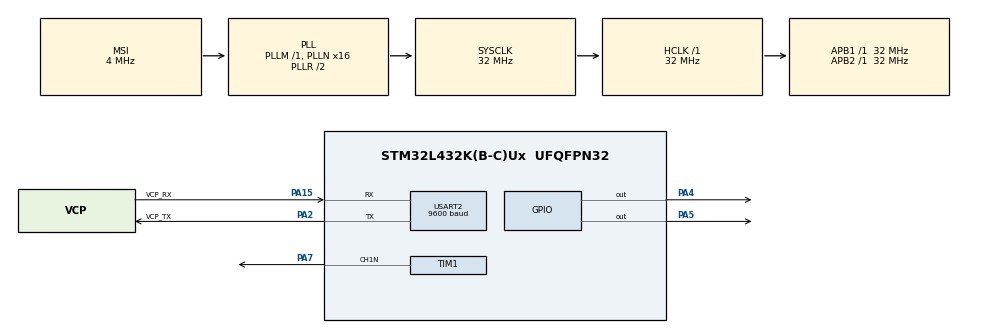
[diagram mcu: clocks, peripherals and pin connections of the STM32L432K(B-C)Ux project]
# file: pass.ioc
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Mcu.Family=STM32L4
Mcu.Name=STM32L432K(B-C)Ux
Mcu.Package=UFQFPN32
NVIC.PriorityGroup=NVIC_PRIORITYGROUP_4
PA15\ (JTDI).GPIO_Label=VCP_RX
PA15\ (JTDI).Mode=Asynchronous
PA15\ (JTDI).Signal=USART2_RX
PA2.GPIO_Label=VCP_TX
PA2.Mode=Asynchronous
PA2.Signal=USART2_TX
PA4.Signal=GPIO_Output
PA5.Signal=GPIO_Output
PA7.Mode=PWM Generation1 CH1N
PA7.Signal=TIM1_CH1N
ProjectManager.HeapSize=0x200
ProjectManager.StackSize=0x400
ProjectManager.TargetToolchain=TrueSTUDIO
RCC.AHBFreq_Value=32000000
RCC.APB1Freq_Value=32000000
RCC.APB1TimFreq_Value=32000000
RCC.APB2Freq_Value=32000000
RCC.APB2TimFreq_Value=32000000
RCC.CortexFreq_Value=32000000
RCC.HCLKFreq_Value=32000000
RCC.HSE_VALUE=8000000
RCC.HSI16_VALUE=16000000
RCC.HSI48_VALUE=48000000
RCC.HSI_VALUE=16000000
RCC.MSI_VALUE=4000000
RCC.PLLMUL=RCC_PLLMUL_4
RCC.PLLN=16
RCC.SYSCLKFreq_VALUE=32000000
RCC.SYSCLKSource=RCC_SYSCLKSOURCE_PLLCLK
RCC.VCOOutputFreq_Value=64000000
TIM1.Channel-PWM\ Generation1\ CH1N=TIM_CHANNEL_1
USART2.BaudRate=9600
USART2.VirtualMode-Asynchronous=VM_ASYNC
USART2.WordLength=WORDLENGTH_8B
VP_TIM1_VS_ClockSourceINT.Mode=Internal
board=NUCLEO-L432KC

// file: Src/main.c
/*******************************************************************************
  * File Name          : main.c
  * Description        : This program checks a password user entered and grants access
  * 					 if its correct.
  *
  * Author:              Lisler Thomson Pulikkottil
  * Date:                21 june, 2018
  ******************************************************************************
  *
  ** This notice applies to any and all portions of this file
  * that are not between comment pairs USER CODE BEGIN and
  * USER CODE END. Other portions of this file, whether
  * inserted by the user or by software development tools
  * are owned by their respective copyright owners.
  *
  * COPYRIGHT(c) 2018 STMicroelectronics
  *
  * Redistribution and use in source and binary forms, with or without modification,
  * are permitted provided that the following conditions are met:
  *   1. Redistributions of source code must retain the above copyright notice,
  *      this list of conditions and the following disclaimer.
  *   2. Redistributions in binary form must reproduce the above copyright notice,
  *      this list of conditions and the following disclaimer in the documentation
  *      and/or other materials provided with the distribution.
  *   3. Neither the name of STMicroelectronics nor the names of its contributors
  *      may be used to endorse or promote products derived from this software
  *      without specific prior written permission.
  *
  * THIS SOFTWARE IS PROVIDED BY THE COPYRIGHT HOLDERS AND CONTRIBUTORS "AS IS"
  * AND ANY EXPRESS OR IMPLIED WARRANTIES, INCLUDING, BUT NOT LIMITED TO, THE
  * IMPLIED WARRANTIES OF MERCHANTABILITY AND FITNESS FOR A PARTICULAR PURPOSE ARE
  * DISCLAIMED. IN NO EVENT SHALL THE COPYRIGHT HOLDER OR CONTRIBUTORS BE LIABLE
  * FOR ANY DIRECT, INDIRECT, INCIDENTAL, SPECIAL, EXEMPLARY, OR CONSEQUENTIAL
  * DAMAGES (INCLUDING, BUT NOT LIMITED TO, PROCUREMENT OF SUBSTITUTE GOODS OR
  * SERVICES; LOSS OF USE, DATA, OR PROFITS; OR BUSINESS INTERRUPTION) HOWEVER
  * CAUSED AND ON ANY THEORY OF LIABILITY, WHETHER IN CONTRACT, STRICT LIABILITY,
  * OR TORT (INCLUDING NEGLIGENCE OR OTHERWISE) ARISING IN ANY WAY OUT OF THE USE
  * OF THIS SOFTWARE, EVEN IF ADVISED OF THE POSSIBILITY OF SUCH DAMAGE.
  *
  ******************************************************************************
  */
#include "main.h"
#include "stm32l4xx_hal.h"

TIM_HandleTypeDef htim1;

UART_HandleTypeDef huart2;

/* USER CODE BEGIN PV */
/* Private variables ---------------------------------------------------------*/

/* USER CODE END PV */

void SystemClock_Config(void);
static void MX_GPIO_Init(void);
static void MX_USART2_UART_Init(void);
static void MX_TIM1_Init(void);
void HAL_TIM_MspPostInit(TIM_HandleTypeDef *htim);

/* USER CODE BEGIN PFP */
/* Private function prototypes -----------------------------------------------*/

/* USER CODE END PFP */

/* USER CODE BEGIN 0 */

// FUNCTION      : setupPWMandTurnOn
// DESCRIPTION   :
//   This function is used to set up the timer TIM1 in pwm mode n start the timer.
// PARAMETERS    :
//   htim1 : this variable has the TIM_HandleTypeDef structure
//	 pwmPeriod: This parameter determine the period of the pwm
//
// RETURNS       :
//   This function has no returns

void setupPWMandTurnOn(TIM_HandleTypeDef* htim1, int32_t pwmPeriod)
{
	TIM_ClockConfigTypeDef sClockSourceConfig;
	TIM_MasterConfigTypeDef sMasterConfig;
	TIM_OC_InitTypeDef sConfigOC;
	TIM_BreakDeadTimeConfigTypeDef sBreakDeadTimeConfig;

	htim1->Instance = TIM1;
	htim1->Init.Prescaler = 0;
	htim1->Init.CounterMode = TIM_COUNTERMODE_UP;
	htim1->Init.Period = pwmPeriod;
	htim1->Init.ClockDivision = TIM_CLOCKDIVISION_DIV1;
	htim1->Init.RepetitionCounter = 0;
	htim1->Init.AutoReloadPreload = TIM_AUTORELOAD_PRELOAD_DISABLE;

	if (HAL_TIM_Base_Init(&*htim1) != HAL_OK)
	{
		_Error_Handler(__FILE__, __LINE__);
	}

	sClockSourceConfig.ClockSource = TIM_CLOCKSOURCE_INTERNAL;

	if (HAL_TIM_ConfigClockSource(&*htim1, &sClockSourceConfig) != HAL_OK)
	{
		_Error_Handler(__FILE__, __LINE__);
	}

	if (HAL_TIM_PWM_Init(&*htim1) != HAL_OK)
	{
		_Error_Handler(__FILE__, __LINE__);
	}

	sMasterConfig.MasterOutputTrigger = TIM_TRGO_RESET;
	sMasterConfig.MasterOutputTrigger2 = TIM_TRGO2_RESET;
	sMasterConfig.MasterSlaveMode = TIM_MASTERSLAVEMODE_DISABLE;

	if (HAL_TIMEx_MasterConfigSynchronization(&*htim1, &sMasterConfig)
			!= HAL_OK)
	{
		_Error_Handler(__FILE__, __LINE__);
	}

	/* As suggested by Rudy as he experienced some issues at start-up.
	 *
	 * ST Tech support suggested adding this line to remove the issue
	 ***************************************/
	HAL_TIM_PWM_Stop(&*htim1, TIM_CHANNEL_1);
	/***************************************/

	sConfigOC.OCMode = TIM_OCMODE_PWM1;
	sConfigOC.Pulse = pwmPeriod / 2;
	sConfigOC.OCPolarity = TIM_OCPOLARITY_HIGH;
	sConfigOC.OCNPolarity = TIM_OCNPOLARITY_HIGH;
	sConfigOC.OCFastMode = TIM_OCFAST_DISABLE;
	sConfigOC.OCIdleState = TIM_OCIDLESTATE_RESET;
	sConfigOC.OCNIdleState = TIM_OCNIDLESTATE_RESET;

	if (HAL_TIM_PWM_ConfigChannel(&*htim1, &sConfigOC, TIM_CHANNEL_1)
			!= HAL_OK)
	{
		_Error_Handler(__FILE__, __LINE__);
	}

	sBreakDeadTimeConfig.OffStateRunMode = TIM_OSSR_DISABLE;
	sBreakDeadTimeConfig.OffStateIDLEMode = TIM_OSSI_DISABLE;
	sBreakDeadTimeConfig.LockLevel = TIM_LOCKLEVEL_OFF;
	sBreakDeadTimeConfig.DeadTime = 0;
	sBreakDeadTimeConfig.BreakState = TIM_BREAK_DISABLE;
	sBreakDeadTimeConfig.BreakPolarity = TIM_BREAKPOLARITY_HIGH;
	sBreakDeadTimeConfig.BreakFilter = 0;
	sBreakDeadTimeConfig.Break2State = TIM_BREAK2_DISABLE;
	sBreakDeadTimeConfig.Break2Polarity = TIM_BREAK2POLARITY_HIGH;
	sBreakDeadTimeConfig.Break2Filter = 0;
	sBreakDeadTimeConfig.AutomaticOutput = TIM_AUTOMATICOUTPUT_DISABLE;

	if (HAL_TIMEx_ConfigBreakDeadTime(&*htim1, &sBreakDeadTimeConfig)
			!= HAL_OK)
	{
		_Error_Handler(__FILE__, __LINE__);
	}

	HAL_TIMEx_PWMN_Start(&*htim1, TIM_CHANNEL_1); //Starts the pwm on TIM1
}

// FUNCTION      : buzzer
// DESCRIPTION   :
//   It turns ON the pwm such that it generates a particular frequency
// PARAMETERS    :
//   freq: Frequency of the sound speaker generates
//
// RETURNS       :
//   This function has no returns

void buzzer(int32_t freq)
{
	int32_t pwmPeriod = 1000000000 / (freq * 250);
	setupPWMandTurnOn(&htim1, pwmPeriod); //sets up the PWM and turns it ON
}

/* USER CODE END 0 */

int main(void)
{

  /* MCU Configuration----------------------------------------------------------*/

  /* Reset of all peripherals, Initializes the Flash interface and the Systick. */
  HAL_Init();

  /* Configure the system clock */
  SystemClock_Config();

  /* Initialize all configured peripherals */
  MX_GPIO_Init();
  MX_USART2_UART_Init();
  MX_TIM1_Init();

  /* USER CODE BEGIN 2 */

  int passcodes[10] = {1111, 2222, 3333, 4444, 5555, 6666,
		  7777, 8888, 9999, 1010};
  // These are the correct access codes
  int userPasscode = 0;

  /* USER CODE END 2 */

  /* Infinite loop */
  while (1)
  {

  /* USER CODE BEGIN 3 */

	  printf("Enter passcode: \r\n");
	  scanf("%i", &userPasscode);

	  int flag = 0; // This flag says if the passcode entered matches the correct.

	  for(int i = 0; i<10; i++)
	  {
		  if(userPasscode == passcodes[i])
		  {
			  flag = 1;
		  }
	  }

	  if(flag == 1)
	  {
		  printf("Access Granted\r\n");
		  buzzer(1500);
		  /* The parameter passed determines the frequency of the audio
		   * of the speaker. It should be between 150Hz and 1500Hz to
		   * get a good audible output
		  */
		  HAL_GPIO_WritePin(GPIOA, GPIO_PIN_5, GPIO_PIN_SET);
		  HAL_Delay(2000);

		  HAL_GPIO_WritePin(GPIOA, GPIO_PIN_5, GPIO_PIN_RESET);

		  buzzer(1); //This runs the pwm in a low frequency so that the sound is not audible.
		  	  	  	 // represents buzzer turned off

	  }
	  else
	  {
		  printf("Access Denied!!!!\r\n");
		  buzzer(100); // Speaker puts out a 100Hz sound indicating access denial

		  HAL_GPIO_WritePin(GPIOA, GPIO_PIN_4, GPIO_PIN_SET);
		  HAL_Delay(2000);

		  HAL_GPIO_WritePin(GPIOA, GPIO_PIN_4, GPIO_PIN_RESET);

		  buzzer(1);
	  }
  }
  /* USER CODE END 3 */

}

void SystemClock_Config(void)
{

  RCC_OscInitTypeDef RCC_OscInitStruct;
  RCC_ClkInitTypeDef RCC_ClkInitStruct;
  RCC_PeriphCLKInitTypeDef PeriphClkInit;

    /**Initializes the CPU, AHB and APB busses clocks
    */
  RCC_OscInitStruct.OscillatorType = RCC_OSCILLATORTYPE_MSI;
  RCC_OscInitStruct.MSIState = RCC_MSI_ON;
  RCC_OscInitStruct.MSICalibrationValue = 0;
  RCC_OscInitStruct.MSIClockRange = RCC_MSIRANGE_6;
  RCC_OscInitStruct.PLL.PLLState = RCC_PLL_ON;
  RCC_OscInitStruct.PLL.PLLSource = RCC_PLLSOURCE_MSI;
  RCC_OscInitStruct.PLL.PLLM = 1;
  RCC_OscInitStruct.PLL.PLLN = 16;
  RCC_OscInitStruct.PLL.PLLP = RCC_PLLP_DIV7;
  RCC_OscInitStruct.PLL.PLLQ = RCC_PLLQ_DIV2;
  RCC_OscInitStruct.PLL.PLLR = RCC_PLLR_DIV2;
  if (HAL_RCC_OscConfig(&RCC_OscInitStruct) != HAL_OK)
  {
    _Error_Handler(__FILE__, __LINE__);
  }

    /**Initializes the CPU, AHB and APB busses clocks
    */
  RCC_ClkInitStruct.ClockType = RCC_CLOCKTYPE_HCLK|RCC_CLOCKTYPE_SYSCLK
                              |RCC_CLOCKTYPE_PCLK1|RCC_CLOCKTYPE_PCLK2;
  RCC_ClkInitStruct.SYSCLKSource = RCC_SYSCLKSOURCE_PLLCLK;
  RCC_ClkInitStruct.AHBCLKDivider = RCC_SYSCLK_DIV1;
  RCC_ClkInitStruct.APB1CLKDivider = RCC_HCLK_DIV1;
  RCC_ClkInitStruct.APB2CLKDivider = RCC_HCLK_DIV1;

  if (HAL_RCC_ClockConfig(&RCC_ClkInitStruct, FLASH_LATENCY_1) != HAL_OK)
  {
    _Error_Handler(__FILE__, __LINE__);
  }

  PeriphClkInit.PeriphClockSelection = RCC_PERIPHCLK_USART2;
  PeriphClkInit.Usart2ClockSelection = RCC_USART2CLKSOURCE_PCLK1;
  if (HAL_RCCEx_PeriphCLKConfig(&PeriphClkInit) != HAL_OK)
  {
    _Error_Handler(__FILE__, __LINE__);
  }

    /**Configure the main internal regulator output voltage
    */
  if (HAL_PWREx_ControlVoltageScaling(PWR_REGULATOR_VOLTAGE_SCALE1) != HAL_OK)
  {
    _Error_Handler(__FILE__, __LINE__);
  }

    /**Configure the Systick interrupt time
    */
  HAL_SYSTICK_Config(HAL_RCC_GetHCLKFreq()/1000);

    /**Configure the Systick
    */
  HAL_SYSTICK_CLKSourceConfig(SYSTICK_CLKSOURCE_HCLK);

  /* SysTick_IRQn interrupt configuration */
  HAL_NVIC_SetPriority(SysTick_IRQn, 0, 0);
}

/* TIM1 init function */
static void MX_TIM1_Init(void)
{

  TIM_ClockConfigTypeDef sClockSourceConfig;
  TIM_MasterConfigTypeDef sMasterConfig;
  TIM_OC_InitTypeDef sConfigOC;
  TIM_BreakDeadTimeConfigTypeDef sBreakDeadTimeConfig;

  htim1.Instance = TIM1;
  htim1.Init.Prescaler = 0;
  htim1.Init.CounterMode = TIM_COUNTERMODE_UP;
  htim1.Init.Period = 0;
  htim1.Init.ClockDivision = TIM_CLOCKDIVISION_DIV1;
  htim1.Init.RepetitionCounter = 0;
  htim1.Init.AutoReloadPreload = TIM_AUTORELOAD_PRELOAD_DISABLE;
  if (HAL_TIM_Base_Init(&htim1) != HAL_OK)
  {
    _Error_Handler(__FILE__, __LINE__);
  }

  sClockSourceConfig.ClockSource = TIM_CLOCKSOURCE_INTERNAL;
  if (HAL_TIM_ConfigClockSource(&htim1, &sClockSourceConfig) != HAL_OK)
  {
    _Error_Handler(__FILE__, __LINE__);
  }

  if (HAL_TIM_PWM_Init(&htim1) != HAL_OK)
  {
    _Error_Handler(__FILE__, __LINE__);
  }

  sMasterConfig.MasterOutputTrigger = TIM_TRGO_RESET;
  sMasterConfig.MasterOutputTrigger2 = TIM_TRGO2_RESET;
  sMasterConfig.MasterSlaveMode = TIM_MASTERSLAVEMODE_DISABLE;
  if (HAL_TIMEx_MasterConfigSynchronization(&htim1, &sMasterConfig) != HAL_OK)
  {
    _Error_Handler(__FILE__, __LINE__);
  }

  sConfigOC.OCMode = TIM_OCMODE_PWM1;
  sConfigOC.Pulse = 0;
  sConfigOC.OCPolarity = TIM_OCPOLARITY_HIGH;
  sConfigOC.OCNPolarity = TIM_OCNPOLARITY_HIGH;
  sConfigOC.OCFastMode = TIM_OCFAST_DISABLE;
  sConfigOC.OCIdleState = TIM_OCIDLESTATE_RESET;
  sConfigOC.OCNIdleState = TIM_OCNIDLESTATE_RESET;
  if (HAL_TIM_PWM_ConfigChannel(&htim1, &sConfigOC, TIM_CHANNEL_1) != HAL_OK)
  {
    _Error_Handler(__FILE__, __LINE__);
  }

  sBreakDeadTimeConfig.OffStateRunMode = TIM_OSSR_DISABLE;
  sBreakDeadTimeConfig.OffStateIDLEMode = TIM_OSSI_DISABLE;
  sBreakDeadTimeConfig.LockLevel = TIM_LOCKLEVEL_OFF;
  sBreakDeadTimeConfig.DeadTime = 0;
  sBreakDeadTimeConfig.BreakState = TIM_BREAK_DISABLE;
  sBreakDeadTimeConfig.BreakPolarity = TIM_BREAKPOLARITY_HIGH;
  sBreakDeadTimeConfig.BreakFilter = 0;
  sBreakDeadTimeConfig.Break2State = TIM_BREAK2_DISABLE;
  sBreakDeadTimeConfig.Break2Polarity = TIM_BREAK2POLARITY_HIGH;
  sBreakDeadTimeConfig.Break2Filter = 0;
  sBreakDeadTimeConfig.AutomaticOutput = TIM_AUTOMATICOUTPUT_DISABLE;
  if (HAL_TIMEx_ConfigBreakDeadTime(&htim1, &sBreakDeadTimeConfig) != HAL_OK)
  {
    _Error_Handler(__FILE__, __LINE__);
  }

  HAL_TIM_MspPostInit(&htim1);

}

/* USART2 init function */
static void MX_USART2_UART_Init(void)
{

  huart2.Instance = USART2;
  huart2.Init.BaudRate = 9600;
  huart2.Init.WordLength = UART_WORDLENGTH_8B;
  huart2.Init.StopBits = UART_STOPBITS_1;
  huart2.Init.Parity = UART_PARITY_NONE;
  huart2.Init.Mode = UART_MODE_TX_RX;
  huart2.Init.HwFlowCtl = UART_HWCONTROL_NONE;
  huart2.Init.OverSampling = UART_OVERSAMPLING_16;
  huart2.Init.OneBitSampling = UART_ONE_BIT_SAMPLE_DISABLE;
  huart2.AdvancedInit.AdvFeatureInit = UART_ADVFEATURE_NO_INIT;
  if (HAL_UART_Init(&huart2) != HAL_OK)
  {
    _Error_Handler(__FILE__, __LINE__);
  }

}

/** Configure pins as
        * Analog
        * Input
        * Output
        * EVENT_OUT
        * EXTI
*/
static void MX_GPIO_Init(void)
{

  GPIO_InitTypeDef GPIO_InitStruct;

  /* GPIO Ports Clock Enable */
  __HAL_RCC_GPIOA_CLK_ENABLE();

  /*Configure GPIO pin Output Level */
  HAL_GPIO_WritePin(GPIOA, GPIO_PIN_4|GPIO_PIN_5, GPIO_PIN_RESET);

  /*Configure GPIO pins : PA4 PA5 */
  GPIO_InitStruct.Pin = GPIO_PIN_4|GPIO_PIN_5;
  GPIO_InitStruct.Mode = GPIO_MODE_OUTPUT_PP;
  GPIO_InitStruct.Pull = GPIO_NOPULL;
  GPIO_InitStruct.Speed = GPIO_SPEED_FREQ_LOW;
  HAL_GPIO_Init(GPIOA, &GPIO_InitStruct);

}

void _Error_Handler(char *file, int line)
{
  while(1)
  {
  }
}

/************************ (C) COPYRIGHT STMicroelectronics *****END OF FILE****/
